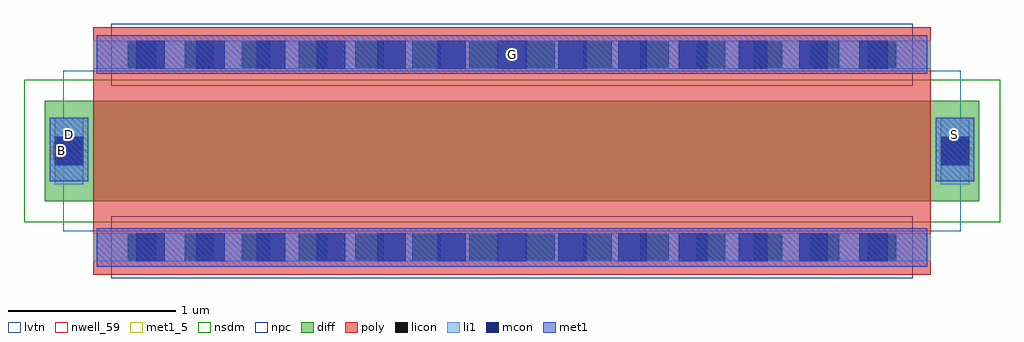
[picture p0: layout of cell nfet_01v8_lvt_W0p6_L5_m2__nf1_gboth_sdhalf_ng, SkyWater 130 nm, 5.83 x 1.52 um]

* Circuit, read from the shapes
.subckt nfet_01v8_lvt_W0p6_L5_m2__nf1_gboth_sdhalf_ng B D G S
XM1 S G D B sky130_fd_pr__nfet_01v8_lvt w=0.6 l=5
.ends

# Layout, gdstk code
import gdstk
lib = gdstk.Library(unit=1e-6, precision=1e-09)
def R(c, l, rs):  # rectangles x0, y0, x1, y1
    for r in rs: c.add(gdstk.rectangle(r[:2], r[2:], *l))
def A(c, l, x, y, w, h, nx, ny, dx, dy):  # array of equal rectangles
    R(c, l, [(x+i*dx, y+j*dy, x+i*dx+w, y+j*dy+h) for i in range(nx) for j in range(ny)])
nwell_59 = (64, 59)
diff = (65, 20)
poly = (66, 20)
licon = (66, 44)
li1 = (67, 20)
mcon = (67, 44)
met1_5 = (68, 5)
met1 = (68, 20)
nsdm = (93, 44)
npc = (95, 20)
lvtn = (125, 44)

sky130_fd_pr__nfet_01v8_ = lib.new_cell('sky130_fd_pr__nfet_01v8_lvt_9TK2ZC')
R(sky130_fd_pr__nfet_01v8_, diff, [(-2.79,-0.3,2.79,0.3)])
R(sky130_fd_pr__nfet_01v8_, poly, [(-2.5,-0.74,2.5,0.74)])
A(sky130_fd_pr__nfet_01v8_, licon, -2.295, -0.66, 0.17, 0.17, 14, 2, 0.34, 1.15)
R(sky130_fd_pr__nfet_01v8_, licon, [(-2.73,-0.085,-2.56,0.085), (2.56,-0.085,2.73,0.085)])
R(sky130_fd_pr__nfet_01v8_, li1, [(-2.5,-0.66,2.5,-0.49), (-2.73,-0.2,-2.56,0.2), (2.56,-0.2,2.73,0.2), (-2.5,0.49,2.5,0.66)])
A(sky130_fd_pr__nfet_01v8_, mcon, -2.245, -0.66, 0.17, 0.17, 13, 2, 0.36, 1.15)
R(sky130_fd_pr__nfet_01v8_, mcon, [(-2.73,-0.085,-2.56,0.085), (2.56,-0.085,2.73,0.085)])
R(sky130_fd_pr__nfet_01v8_, met1, [(-2.48,-0.69,2.48,-0.46), (-2.76,-0.18,-2.53,0.18), (2.53,-0.18,2.76,0.18), (-2.48,0.46,2.48,0.69)])
R(sky130_fd_pr__nfet_01v8_, nsdm, [(-2.915,-0.425,2.915,0.425)])
R(sky130_fd_pr__nfet_01v8_, npc, [(-2.395,-0.76,2.395,-0.39), (-2.395,0.39,2.395,0.76)])
R(sky130_fd_pr__nfet_01v8_, lvtn, [(-2.68,-0.48,2.68,0.48)])
sky130_fd_pr__nfet_01v8_.add(gdstk.Label('D', (-2.645,0), layer=67, texttype=5))
sky130_fd_pr__nfet_01v8_.add(gdstk.Label('S', (2.645,0), layer=67, texttype=5))
sky130_fd_pr__nfet_01v8_.add(gdstk.Label('G', (0,0.575), layer=67, texttype=5))

nfet_01v8_lvt_w0p6_l5_m2 = lib.new_cell('nfet_01v8_lvt_W0p6_L5_m2__nf1_gboth_sdhalf_ng')
R(nfet_01v8_lvt_w0p6_l5_m2, nwell_59, [(0.05,0.69,0.15,0.79)])
R(nfet_01v8_lvt_w0p6_l5_m2, met1_5, [(0.03,0.74,0.26,0.94), (5.32,0.74,5.55,0.94), (0.31,1.2,5.27,1.43)])
R(nfet_01v8_lvt_w0p6_l5_m2, met1, [(0.03,0.74,0.26,0.94), (5.32,0.74,5.55,0.94), (0.31,1.2,5.27,1.43)])
nfet_01v8_lvt_w0p6_l5_m2.add(gdstk.Reference(sky130_fd_pr__nfet_01v8_, (2.79,0.74)))
nfet_01v8_lvt_w0p6_l5_m2.add(gdstk.Label('D', (0.145,0.84), layer=68, texttype=5))
nfet_01v8_lvt_w0p6_l5_m2.add(gdstk.Label('S', (5.435,0.84), layer=68, texttype=5))
nfet_01v8_lvt_w0p6_l5_m2.add(gdstk.Label('G', (2.79,1.315), layer=68, texttype=5))
nfet_01v8_lvt_w0p6_l5_m2.add(gdstk.Label('B', (0.1,0.74), layer=64, texttype=59))

lib.write_gds('nfet_01v8_lvt_W0p6_L5_m2__nf1_gboth_sdhalf_ng.gds')
